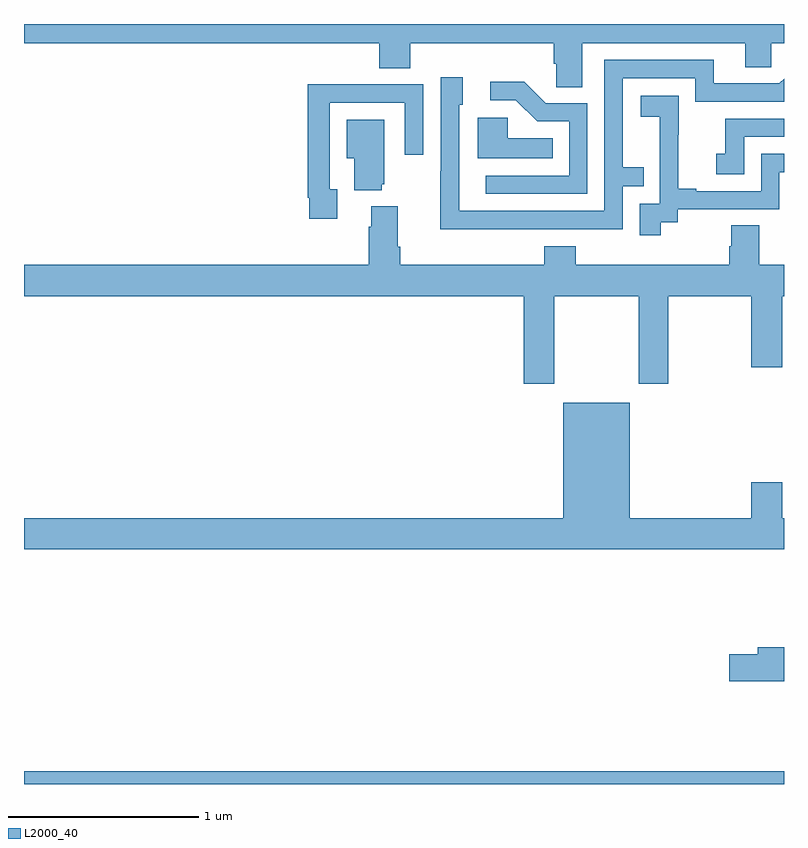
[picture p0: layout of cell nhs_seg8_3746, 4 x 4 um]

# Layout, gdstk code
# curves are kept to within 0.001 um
import gdstk
lib = gdstk.Library(unit=1e-6, precision=1e-09)
def R(c, l, rs):  # rectangles x0, y0, x1, y1
    for r in rs: c.add(gdstk.rectangle(r[:2], r[2:], *l))
def P(c, l, *ps):  # polygons
    for p in ps: c.add(gdstk.Polygon(p, *l))
L2000_40 = (2000, 40)

nhs_seg8_3746 = lib.new_cell('nhs_seg8_3746')
R(nhs_seg8_3746, L2000_40, [(341,1145.9,345,1145.968)])
P(nhs_seg8_3746, L2000_40, [(343.939,1149.8),(344.795,1149.8),(344.795,1149.673),(344.934,1149.673),(344.934,1149.8),(345,1149.8),(345,1149.9),(341,1149.9),(341,1149.8),(342.869,1149.8),(342.869,1149.667),(343.034,1149.667),(343.034,1149.8),(343.787,1149.8),(343.787,1149.691),(343.8,1149.691),(343.8,1149.568),(343.939,1149.568)],
  [(343.655,1148.82),(344.151,1148.82),(344.151,1149.045),(344.261,1149.045),(344.261,1149.146),(344.151,1149.146),(344.151,1149.615),(344.532,1149.615),(344.532,1149.492),(345,1149.492),(345,1149.612),(344.976,1149.588),(344.629,1149.588),(344.629,1149.711),(344.055,1149.711),(344.055,1148.916),(343.291,1148.916),(343.29,1149.474),(343.309,1149.474),(343.309,1149.619),(343.194,1149.619),(343.194,1149.125),(343.192,1149.125),(343.192,1148.819)],
  [(343.965,1149.483),(343.746,1149.483),(343.633,1149.596),(343.455,1149.596),(343.455,1149.498),(343.589,1149.498),(343.7,1149.387),(343.869,1149.387),(343.869,1149.102),(343.431,1149.102),(343.431,1149.006),(343.965,1149.006)],
  [(342.649,1149.03),(342.609,1149.03),(342.609,1149.486),(343.005,1149.486),(343.005,1149.213),(343.101,1149.213),(343.101,1149.582),(342.785,1149.582),(342.785,1149.584),(342.493,1149.584),(342.493,1148.986),(342.501,1148.986),(342.501,1148.874),(342.649,1148.874)],
  [(344.35,1148.857),(344.442,1148.857),(344.442,1148.925),(344.976,1148.925),(344.976,1149.12),(345,1149.12),(345,1149.216),(344.88,1149.216),(344.88,1149.021),(344.539,1149.021),(344.539,1149.034),(344.444,1149.034),(344.444,1149.317),(344.445,1149.317),(344.445,1149.523),(344.247,1149.523),(344.247,1149.413),(344.345,1149.413),(344.345,1149.185),(344.346,1149.185),(344.346,1148.955),(344.241,1148.955),(344.241,1148.787),(344.35,1148.787)],
  [(343.784,1149.298),(343.545,1149.298),(343.545,1149.406),(343.388,1149.406),(343.388,1149.194),(343.784,1149.194)],
  [(344.79,1149.306),(345,1149.306),(345,1149.402),(344.692,1149.402),(344.692,1149.217),(344.643,1149.217),(344.643,1149.108),(344.79,1149.108)],
  [(342.884,1149.057),(342.895,1149.057),(342.895,1149.397),(342.698,1149.397),(342.698,1149.194),(342.737,1149.194),(342.737,1149.026),(342.884,1149.026)],
  [(343.791,1148.468),(344.236,1148.468),(344.236,1148.007),(344.391,1148.007),(344.391,1148.468),(344.828,1148.468),(344.828,1148.094),(344.992,1148.094),(344.992,1148.468),(345,1148.468),(345,1148.632),(344.871,1148.632),(344.871,1148.84),(344.723,1148.84),(344.723,1148.73),(344.711,1148.73),(344.711,1148.632),(343.904,1148.632),(343.904,1148.731),(343.739,1148.731),(343.739,1148.632),(342.98,1148.632),(342.98,1148.728),(342.967,1148.728),(342.967,1148.941),(342.827,1148.941),(342.827,1148.834),(342.815,1148.834),(342.815,1148.632),(341,1148.632),(341,1148.468),(343.631,1148.468),(343.631,1148.007),(343.791,1148.007)],
  [(345,1147.3),(344.992,1147.3),(344.992,1147.489),(344.828,1147.489),(344.828,1147.3),(344.188,1147.3),(344.188,1147.906),(343.838,1147.906),(343.838,1147.3),(341,1147.3),(341,1147.136),(345,1147.136)],
  [(345,1146.62),(344.861,1146.62),(344.861,1146.584),(344.712,1146.584),(344.712,1146.442),(345,1146.442)])

lib.write_gds('nhs_seg8_3746.gds')
